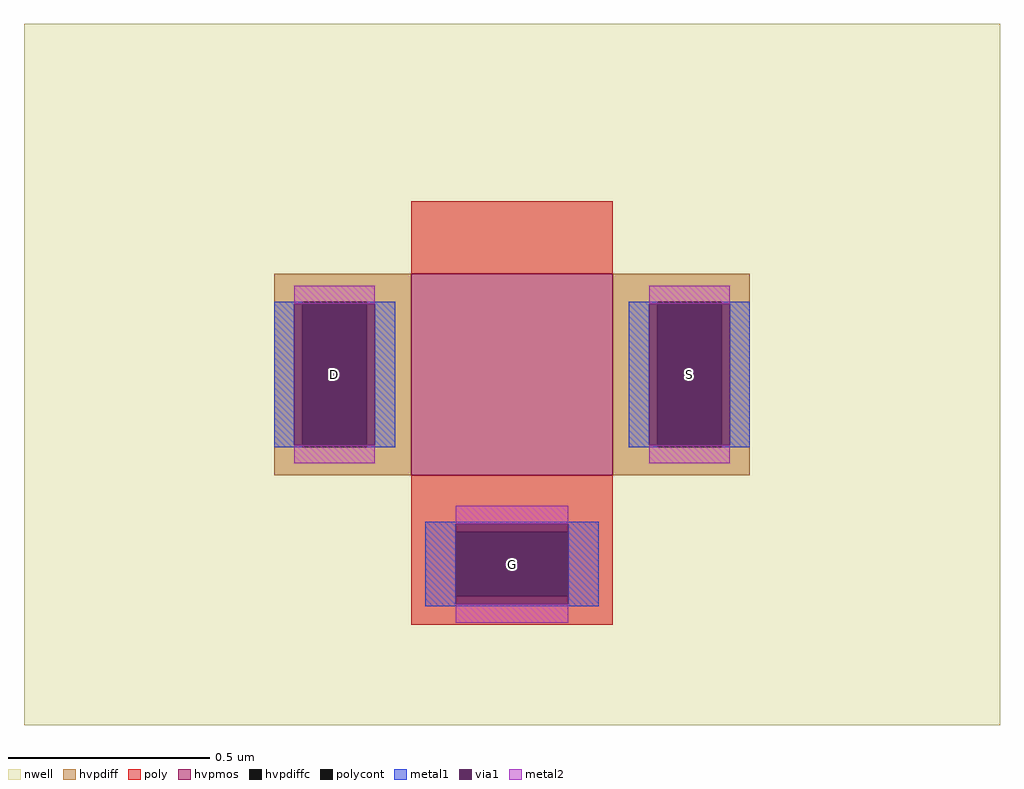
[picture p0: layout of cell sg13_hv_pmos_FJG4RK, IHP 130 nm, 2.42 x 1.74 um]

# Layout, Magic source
magic
tech ihp-sg13cmos5l
magscale 1 2
<< nwell >>
rect -242 -155 242 193
<< hvpmos >>
rect -50 -31 50 69
<< hvpdiff >>
rect -118 55 -50 69
rect -118 -17 -104 55
rect -72 -17 -50 55
rect -118 -31 -50 -17
rect 50 55 118 69
rect 50 -17 72 55
rect 104 -17 118 55
rect 50 -31 118 -17
<< hvpdiffc >>
rect -104 -17 -72 55
rect 72 -17 104 55
<< poly >>
rect -50 69 50 105
rect -50 -59 50 -31
rect -50 -91 -28 -59
rect 28 -91 50 -59
rect -50 -105 50 -91
<< polycont >>
rect -28 -91 28 -59
<< metal1 >>
rect -118 54 -104 55
rect -72 54 -58 55
rect -118 -16 -108 54
rect -68 -16 -58 54
rect -118 -17 -104 -16
rect -72 -17 -58 -16
rect 58 54 72 55
rect 104 54 118 55
rect 58 -16 68 54
rect 108 -16 118 54
rect 58 -17 72 -16
rect 104 -17 118 -16
rect -43 -55 43 -54
rect -43 -95 -28 -55
rect 28 -95 43 -55
rect -43 -96 43 -95
<< via1 >>
rect -108 -16 -104 54
rect -104 -16 -72 54
rect -72 -16 -68 54
rect 68 -16 72 54
rect 72 -16 104 54
rect 104 -16 108 54
rect -28 -59 28 -55
rect -28 -91 28 -59
rect -28 -95 28 -91
<< metal2 >>
rect -108 54 -68 63
rect -108 -25 -68 -16
rect 68 54 108 63
rect 68 -25 108 -16
rect -28 -55 28 -46
rect -28 -104 28 -95
<< labels >>
rlabel hvpdiffc -88 19 -88 19 0 D
port 1 nsew
rlabel hvpdiffc 88 19 88 19 0 S
port 2 nsew
rlabel polycont 0 -75 0 -75 0 G
port 3 nsew
<< properties >>
string gencell sg13_hv_pmos
string library sg13cmos5l
string parameters w 0.5 l 0.5 m 1 ng 1 diffcov 100 polycov 100 guard 0 glc 1 grc 1 gtc 1 gbc 1 tbcov 100 rlcov 100 topc 0 botc 1 poverlap 0 doverlap 1 lmin 0.4 wmin 0.15 class mosfet compatible {sg13_lv_pmos sg13_hv_pmos} full_metal 1 conn_gates 0 gate_ring 0 ccols 1 viasrc 100 viadrn 100 viagate 100 viagb 0 viagr 0 viagl 0 viagt 0 doports 1
<< end >>
